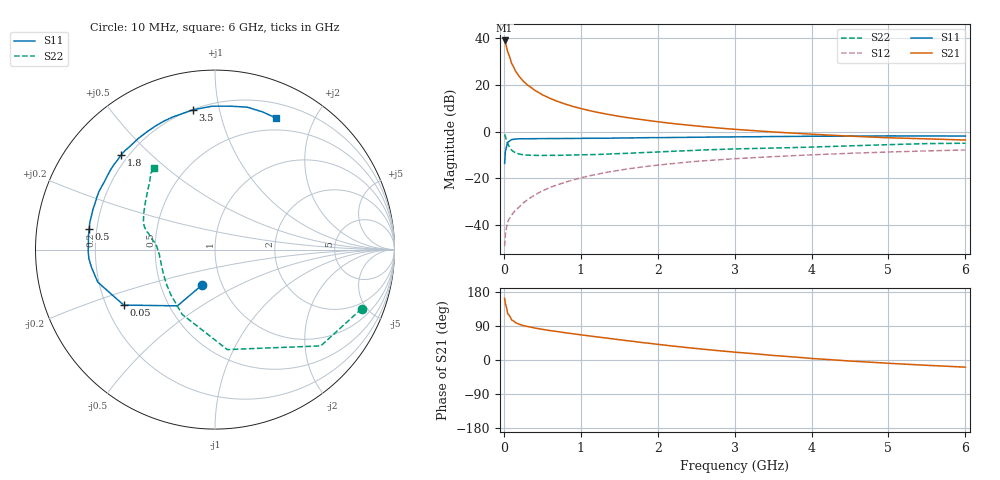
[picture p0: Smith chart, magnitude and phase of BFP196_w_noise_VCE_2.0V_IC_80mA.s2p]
! (c) 2017  Infineon Technologies AG, Munich
! Infineon Technologies  Discrete & RF Semiconductors
! BFP196
! VCE =  2.0 V,  IC =  80 mA
! Common Emitter S-Parameters:  Jan 2017
# GHz  S  MA  R  50
!  f  S11  S21  S12  S22
! GHz  MAG  ANG  MAG  ANG  MAG  ANG  MAG  ANG
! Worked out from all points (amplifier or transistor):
!   77 points, 10 MHz to 6 GHz, reference 50 ohm
!   highest |S21| = 39.2 dB at 10 MHz (marker M1)
!   |S21| within 3 dB of that: start of sweep to 35.92 MHz
!   unconditionally stable (mu >= 1): 369.8 MHz to 2.535 GHz
!   at 130 MHz: K = 0.77, MSG = 31.1 dB, |S12| = -34.6 dB
!   at 2.2 GHz: K = 1.01, MAG = 7.9 dB, |S12| = -13.7 dB
!   at 6 GHz: K = 0.97, MSG = 2.1 dB, |S12| = -7.8 dB
!   lowest NFmin = 1.78 dB at 450 MHz
!   S11 on the Smith chart (normalised r, x): 10 MHz: 0.80, -0.33; 50 MHz: 0.27, -0.26; 500 MHz: 0.17, +0.08; 1.8 GHz: 0.17, +0.41; 3.5 GHz: 0.20, +0.84; 6 GHz: 0.36, +1.51
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0.01  0.2096 -110.1  90.72 162.8  0.0035 76.9  0.8806 -22.0
0.02  0.3766 -123.7  81.71 148.4  0.0063 68.9  0.797 -42.3
0.05  0.5953 -148.7  51.95 122.1  0.0116 54.7  0.5613 -83.0
0.1  0.678 -164.5  29.52 105.8  0.0162 57.2  0.4046 -116.9
0.15  0.6952 -171.8  20.21 98.8  0.0204 61.8  0.3521 -134.2
0.2  0.7042 -175.8  15.3 94.3  0.0244 64.4  0.3318 -144.8
0.25  0.7067 -179.0  12.28 91.0  0.0293 66.5  0.321 -151.6
0.3  0.7058 178.5  10.27 88.6  0.0339 67.4  0.3155 -156.9
0.4  0.7086 174.5  7.753 84.4  0.0435 70.6  0.311 -163.6
0.5  0.7107 170.8  6.207 80.9  0.0536 69.8  0.3094 -168.2
0.6  0.7137 167.6  5.194 77.7  0.0637 69.7  0.311 -171.6
0.7  0.7133 164.9  4.459 75.0  0.0728 69.2  0.3106 -174.4
0.9  0.7164 159.0  3.476 69.2  0.0923 67.4  0.3165 -178.1
1.1  0.7229 153.5  2.871 63.9  0.1119 65.0  0.3217 178.5
1.4  0.7276 145.4  2.285 56.1  0.14 61.0  0.3337 174.6
1.8  0.7427 134.7  1.811 46.0  0.1753 55.2  0.356 170.4
2.1  0.748 127.2  1.564 39.1  0.1994 50.5  0.3739 167.5
3.1  0.7764 106.0  1.097 19.1  0.2685 36.0  0.4307 157.7
3.5  0.7882 98.9  0.988 12.0  0.292 31.0  0.4457 152.9
4.1  0.7992 89.6  0.868 2.8  0.3238 23.4  0.4733 144.6
5.1  0.8125 75.9  0.733 -9.7  0.3707 11.6  0.5328 132.8
6  0.8077 65.1  0.663 -18.9  0.4058 1.6  0.5659 126.6
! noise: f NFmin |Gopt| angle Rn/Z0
0.45  1.78  0.5  -170  0.06
0.9  1.95  0.53  -157  0.1
1.9  2.8  0.7  -130  0.4
2.4  3.2  0.7  -116  0.87
